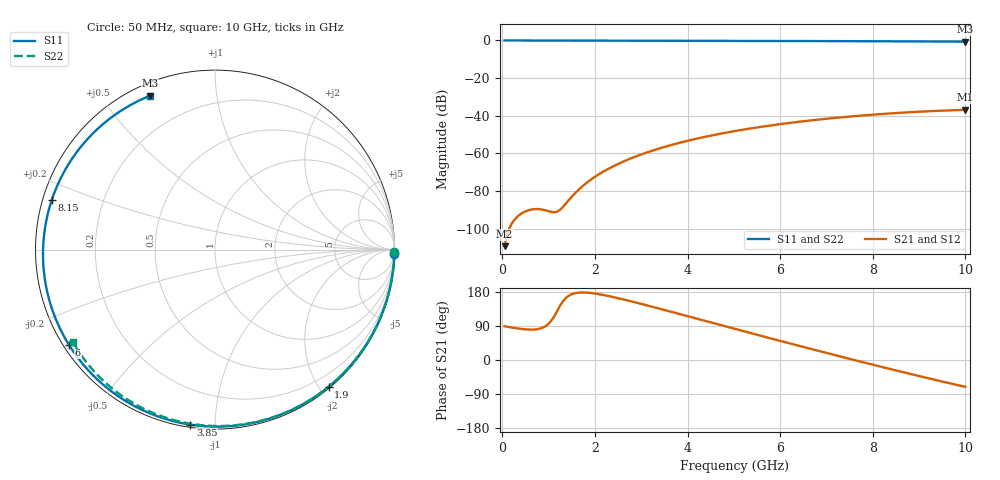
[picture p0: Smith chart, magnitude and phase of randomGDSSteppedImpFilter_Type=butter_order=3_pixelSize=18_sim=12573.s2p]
! freq	dB(S11)	phase(S11)	dB(S12)	phase(S12)
!  dB(S21)	phase(S21)	dB(S22)	phase(S22)
!S-par simulation data
#  GHz  S  DB  R 50
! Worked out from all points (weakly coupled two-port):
!   200 points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, 50 MHz to 10 GHz, reference 50 ohm
!   highest |S21| = -36.83 dB at 10 GHz (marker M1); lowest = -109.3 dB at 50 MHz (marker M2)
!   lowest |S11| = -0.6 dB at 10 GHz (marker M3), VSWR 27.83, Z = 2.58 + j33.1 ohm
!   |S11| at or under -10 dB: nowhere
!   |S22| runs from -0.5 to 0.0 dB; largest |S21 - S12| = 0
!   S11 on the Smith chart (normalised r, x): 50 MHz: 0, -84; 1.9 GHz: 0.02, -2.12; 3.85 GHz: 0.01, -0.87; 6 GHz: 0.02, -0.30; 8.15 GHz: 0.03, +0.15; 10 GHz: 0.05, +0.66
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0.05  -0.00 -1.4  -109.27 89.1  -109.27 89.1  -0.00 -0.9
0.4  -0.01 -10.8  -92.15 82.2  -92.15 82.2  -0.01 -6.8
0.8  -0.03 -21.6  -89.60 82.3  -89.60 82.3  -0.02 -13.6
1.6  -0.05 -42.7  -80.42 177.0  -80.42 177.0  -0.03 -27.0
1.75  -0.06 -46.6  -77.04 178.2  -77.04 178.2  -0.04 -29.4
1.9  -0.06 -50.4  -74.15 177.0  -74.15 177.0  -0.04 -31.9
2.2  -0.07 -58.0  -69.41 171.1  -69.41 171.1  -0.05 -36.8
2.55  -0.09 -66.8  -65.03 161.8  -65.03 161.8  -0.05 -42.5
2.95  -0.10 -76.6  -60.99 149.7  -60.99 149.7  -0.06 -48.8
3.4  -0.11 -87.4  -57.29 135.3  -57.29 135.3  -0.07 -55.9
3.85  -0.13 -98.0  -54.21 120.7  -54.21 120.7  -0.09 -62.8
4.45  -0.16 -111.9  -50.80 100.9  -50.80 100.9  -0.10 -71.9
5.05  -0.19 -125.5  -48.00 81.3  -48.00 81.3  -0.12 -80.7
6  -0.25 -146.8  -44.45 50.5  -44.45 50.5  -0.16 -94.2
6.7  -0.31 -162.6  -42.36 28.1  -42.36 28.1  -0.20 -103.8
7.45  -0.37 -180.0  -40.53 4.6  -40.53 4.6  -0.25 -113.8
8.15  -0.44 163.0  -39.14 -16.9  -39.14 -16.9  -0.31 -123.0
8.35  -0.46 158.0  -38.80 -23.0  -38.80 -23.0  -0.32 -125.6
8.75  -0.50 147.7  -38.19 -35.0  -38.19 -35.0  -0.36 -130.8
9.15  -0.54 137.0  -37.66 -46.8  -37.66 -46.8  -0.40 -136.0
9.6  -0.59 124.5  -37.18 -59.7  -37.18 -59.7  -0.45 -141.8
10  -0.62 112.9  -36.83 -70.8  -36.83 -70.8  -0.50 -147.0
